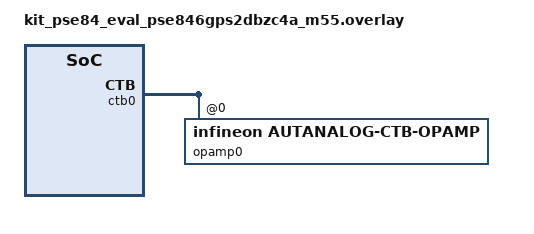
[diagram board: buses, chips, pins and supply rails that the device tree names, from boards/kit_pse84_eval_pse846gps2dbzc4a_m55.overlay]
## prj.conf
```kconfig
# Copyright 2025 NXP
# SPDX-License-Identifier: Apache-2.0

CONFIG_OPAMP=y
CONFIG_ZTEST=y
```

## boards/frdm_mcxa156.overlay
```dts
/*
 * Copyright 2025 NXP
 *
 * SPDX-License-Identifier: Apache-2.0
 */

/ {
	zephyr,user {
		opamp = <&opamp0>;
	};
};

&opamp0 {
	functional-mode = "differential";
	programmable-gain = "OPAMP_GAIN_1",
			    "OPAMP_GAIN_2",
			    "OPAMP_GAIN_4",
			    "OPAMP_GAIN_8",
			    "OPAMP_GAIN_16",
			    "OPAMP_GAIN_33",
			    "OPAMP_GAIN_64";
};
```

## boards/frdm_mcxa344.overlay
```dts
/*
 * Copyright 2026 NXP
 *
 * SPDX-License-Identifier: Apache-2.0
 */

/ {
	zephyr,user {
		opamp = <&opamp0>;
	};
};

&opamp0 {
	functional-mode = "differential";
	compensation-capcitor = <0>;
};
```

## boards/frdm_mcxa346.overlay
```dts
/*
 * Copyright 2025 NXP
 *
 * SPDX-License-Identifier: Apache-2.0
 */

/ {
	zephyr,user {
		opamp = <&opamp1>;
	};
};

&opamp0 {
	functional-mode = "follower";
	is-reference-source;
	compensation-capcitor = <0>;
};

&opamp1 {
	functional-mode = "inverting";
	compensation-capcitor = <2>;
};
```

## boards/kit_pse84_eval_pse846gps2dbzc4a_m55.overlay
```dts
/*
 * SPDX-FileCopyrightText: <text>Copyright (c) 2026 Infineon Technologies AG,
 * or an affiliate of Infineon Technologies AG. All rights reserved.</text>
 *
 * SPDX-License-Identifier: Apache-2.0
 */

#include <zephyr/dt-bindings/opamp/infineon-autanalog-ctb.h>
#include <zephyr/dt-bindings/mfd/infineon-autanalog.h>

/ {
	zephyr,user {
		opamp = <&opamp0>;
	};
};

&ctb0 {
	opamp0: opamp@0 {
		compatible = "infineon,autanalog-ctb-opamp";
		reg = <0>;
		power-mode = <IFX_AUTANALOG_CTB_OA_PWR_ULTRA_LOW>;
		topology = <IFX_AUTANALOG_CTB_OA_TOPO_PGA>;
		/* OA0=P14.0, OA1=P14.5 */
		ninv-inp-pin = <IFX_AUTANALOG_CTB_OA_NINV_PIN_OA0_P0_OA1_P5>;
		/* OA0=P14.1, OA1=P14.4 */
		inv-inp-pin = <IFX_AUTANALOG_CTB_OA_INV_PIN_OA0_P1_OA1_P4>;
		gain = <IFX_AUTANALOG_CTB_OA_GAIN_1_00>;
		out-to-pin; /* OA0=P14.2, OA1=P14.3 */
		functional-mode = "non_inverting";
	};
};
```

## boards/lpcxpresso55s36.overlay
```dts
/*
 * Copyright 2025 NXP
 *
 * SPDX-License-Identifier: Apache-2.0
 */

/ {
	zephyr,user {
		opamp = <&opamp0>;
	};
};

&opamp0 {
	functional-mode = "differential";
	programmable-gain = "OPAMP_GAIN_1",
			"OPAMP_GAIN_2",
			"OPAMP_GAIN_4",
			"OPAMP_GAIN_8",
			"OPAMP_GAIN_16",
			"OPAMP_GAIN_33",
			"OPAMP_GAIN_64";
};
```

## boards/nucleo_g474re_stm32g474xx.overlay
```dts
/*
 * Copyright (c) 2025 Alexander Kozhinov <ak.alexander.kozhinov@gmail.com>
 * SPDX-License-Identifier: Apache-2.0
 */

/ {
	zephyr,user {
		opamp = <&opamp2>;
	};
};

/* Disable spi1 to prevent conflict with opmap2 on PA5 pinctrl state */
&spi1 {
	status = "disabled";
};

&opamp2 {
	pinctrl-0 = <&opamp2_vinm_pa5 &opamp2_vinp_pb0>;
	pinctrl-names = "default";
	functional-mode = "follower";
	inm = "VINM0";
	inp = "VINP2";
	st,enable-self-calibration;
	status = "okay";
};
```

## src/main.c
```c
/*
 * Copyright 2025 NXP
 *
 * SPDX-License-Identifier: Apache-2.0
 */

#include <zephyr/drivers/opamp.h>
#include <zephyr/devicetree.h>
#include <zephyr/kernel.h>
#include <zephyr/ztest.h>

#define OPAMP_SUPPORT_PROGRAMMABLE_GAIN					\
	DT_NODE_HAS_PROP(DT_PHANDLE(DT_PATH(zephyr_user), opamp),	\
			programmable_gain)

#if OPAMP_SUPPORT_PROGRAMMABLE_GAIN
static const enum opamp_gain gain[] = {
	DT_FOREACH_PROP_ELEM_SEP(DT_PHANDLE(DT_PATH(zephyr_user), opamp),
				programmable_gain, DT_ENUM_IDX_BY_IDX, (,))
};
#endif

const struct device *get_opamp_device(void)
{
	return DEVICE_DT_GET(DT_PHANDLE(DT_PATH(zephyr_user), opamp));
}

static const struct device *init_opamp(void)
{
	int ret;

	const struct device *const opamp_dev =
				DEVICE_DT_GET(DT_PHANDLE(DT_PATH(zephyr_user), opamp));

	ret = device_is_ready(opamp_dev);

	zassert_true(ret, "OPAMP device %s is not ready", opamp_dev->name);

	return opamp_dev;
}

#if OPAMP_SUPPORT_PROGRAMMABLE_GAIN
/* Test OPAMP opamp_set_gain API, Only OPAMPs
 * that support PGA need to test this API.
 */
ZTEST(opamp, test_gain_set)
{
	int ret;

	const struct device *opamp_dev = init_opamp();

	for (uint8_t index = 0; index < ARRAY_SIZE(gain); ++index) {
		ret = opamp_set_gain(opamp_dev, gain[index]);
		zassert_ok(ret, "opamp_set_gain() failed with code %d", ret);
	}
}
#endif

ZTEST(opamp, test_init_opamp)
{
	const struct device *opamp_dev = init_opamp();

	ARG_UNUSED(opamp_dev);
}

static void *opamp_setup(void)
{
	k_object_access_grant(get_opamp_device(), k_current_get());

	return NULL;
}

ZTEST_SUITE(opamp, NULL, opamp_setup, NULL, NULL, NULL);
```
